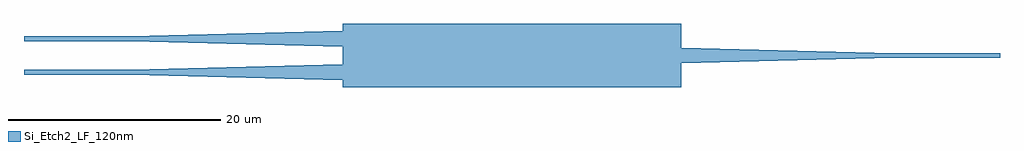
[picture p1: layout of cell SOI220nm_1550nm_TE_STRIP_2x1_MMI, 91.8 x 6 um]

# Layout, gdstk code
import gdstk
lib = gdstk.Library(unit=1e-6, precision=1e-09)
def R(c, l, rs):  # rectangles x0, y0, x1, y1
    for r in rs: c.add(gdstk.rectangle(r[:2], r[2:], *l))
def P(c, l, *ps):  # polygons
    for p in ps: c.add(gdstk.Polygon(p, *l))
Si_Etch2_LF_120nm = (3, 0)

soi220nm_1550nm_te_strip = lib.new_cell('SOI220nm_1550nm_TE_STRIP_2x1_MMI')
R(soi220nm_1550nm_te_strip, Si_Etch2_LF_120nm, [(-15.55,-3,16.25,3), (-45.55,-1.795,-35.55,-1.345), (36.25,-0.225,46.25,0.225), (-45.55,1.345,-35.55,1.795)])
P(soi220nm_1550nm_te_strip, Si_Etch2_LF_120nm, [(16.25,-0.75),(16.25,0.75),(36.25,0.225),(36.25,-0.225)],
  [(-15.55,-2.32),(-35.55,-1.795),(-35.55,-1.345),(-15.55,-0.82)],
  [(-15.55,0.82),(-35.55,1.345),(-35.55,1.795),(-15.55,2.32)])

lib.write_gds('SOI220nm_1550nm_TE_STRIP_2x1_MMI.gds')
